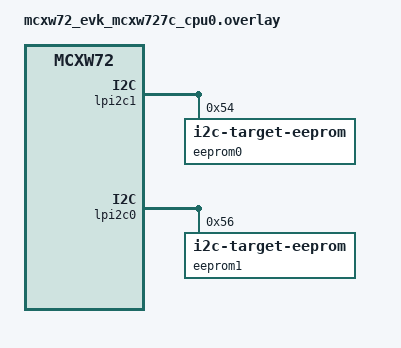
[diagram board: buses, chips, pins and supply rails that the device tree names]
/*
 * Copyright 2025 NXP
 *
 * SPDX-License-Identifier: Apache-2.0
 */

/*
 * This is a loopback setup for the mcxw72_evk
 * To test this sample, connect J1.5 <-> J2.1 and J1.7 <-> J2.3
 */
&lpi2c1 {
	status = "okay";
	eeprom0: eeprom@54 {
		compatible = "zephyr,i2c-target-eeprom";
		reg = <0x54>;
		size = <256>;
	};
};

&lpi2c0 {
	status = "okay";
	pinctrl-0 = <&pinmux_lpi2c0>;
	pinctrl-names = "default";
	eeprom1: eeprom@56 {
		compatible = "zephyr,i2c-target-eeprom";
		reg = <0x56>;
		size = <256>;
	};
};

&gpiob {
	status = "okay";
};
